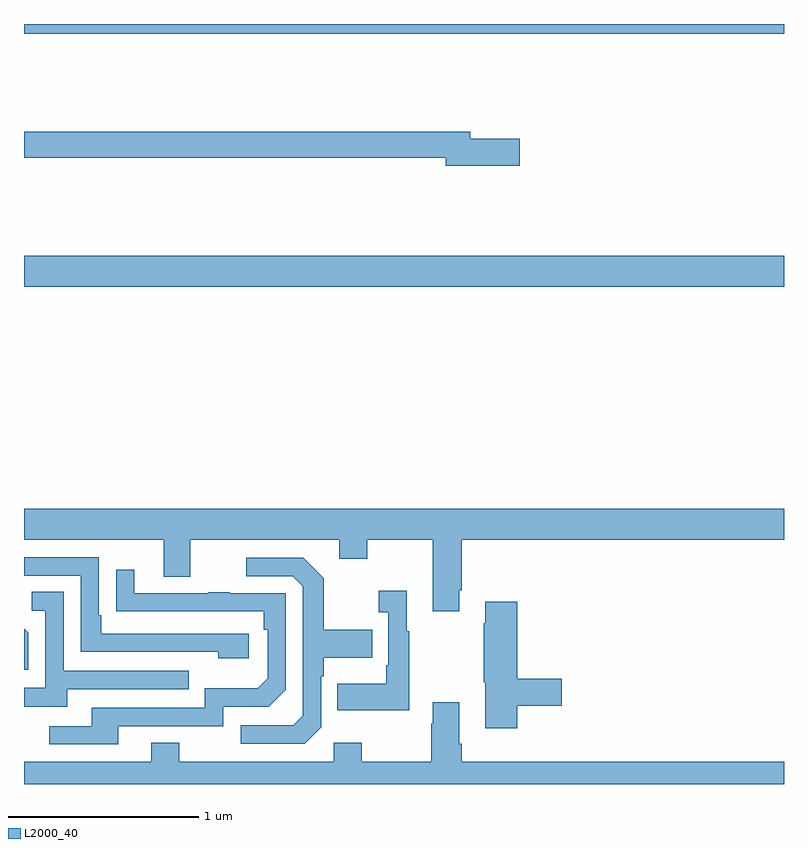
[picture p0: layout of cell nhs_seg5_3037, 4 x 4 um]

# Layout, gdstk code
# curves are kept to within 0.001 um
import gdstk
lib = gdstk.Library(unit=1e-6, precision=1e-09)
def R(c, l, rs):  # rectangles x0, y0, x1, y1
    for r in rs: c.add(gdstk.rectangle(r[:2], r[2:], *l))
def P(c, l, *ps):  # polygons
    for p in ps: c.add(gdstk.Polygon(p, *l))
L2000_40 = (2000, 40)

nhs_seg5_3037 = lib.new_cell('nhs_seg5_3037')
R(nhs_seg5_3037, L2000_40, [(287,867.416,291,867.58), (287,868.748,291,868.799)])
P(nhs_seg5_3037, L2000_40, [(289.609,868.196),(289.348,868.196),(289.348,868.232),(287,868.232),(287,868.096),(289.22,868.096),(289.22,868.054),(289.609,868.054)],
  [(289.291,865.819),(289.304,865.819),(289.304,866.084),(291,866.084),(291,866.248),(287,866.248),(287,866.084),(287.735,866.084),(287.735,865.89),(287.875,865.89),(287.875,866.084),(288.659,866.084),(288.659,865.985),(288.807,865.985),(288.807,866.084),(289.151,866.084),(289.151,865.707),(289.291,865.707)],
  [(288.184,865.59),(287.407,865.59),(287.407,865.687),(287.394,865.687),(287.394,865.992),(287,865.992),(287,865.896),(287.298,865.896),(287.298,865.494),(288.023,865.494),(288.023,865.46),(288.184,865.46)],
  [(288.564,865.098),(288.564,865.367),(288.577,865.367),(288.577,865.463),(288.833,865.463),(288.833,865.611),(288.577,865.611),(288.577,865.883),(288.471,865.989),(288.171,865.989),(288.171,865.893),(288.414,865.893),(288.468,865.839),(288.468,865.158),(288.417,865.107),(288.141,865.107),(288.141,865.011),(288.477,865.011)],
  [(287.497,865.104),(288.048,865.104),(288.048,865.206),(288.288,865.206),(288.378,865.296),(288.378,865.803),(288.083,865.803),(288.083,865.808),(287.971,865.808),(287.971,865.803),(287.581,865.803),(287.581,865.927),(287.485,865.927),(287.485,865.708),(288.262,865.707),(288.262,865.61),(288.282,865.61),(288.282,865.356),(288.229,865.303),(287.952,865.303),(287.952,865.2),(287.357,865.2),(287.357,865.104),(287.133,865.104),(287.133,865.008),(287.497,865.008)],
  [(289.027,865.603),(289.015,865.603),(289.015,865.816),(288.867,865.816),(288.867,865.703),(288.918,865.703),(288.918,865.423),(288.906,865.423),(288.906,865.327),(288.649,865.327),(288.649,865.187),(289.027,865.187)],
  [(287.227,865.299),(287.867,865.299),(287.867,865.395),(287.208,865.395),(287.208,865.811),(287.04,865.811),(287.04,865.71),(287.112,865.71),(287.112,865.305),(287,865.305),(287,865.205),(287.227,865.205)],
  [(289.595,865.21),(289.831,865.21),(289.831,865.352),(289.595,865.352),(289.595,865.759),(289.427,865.759),(289.427,865.646),(289.42,865.646),(289.42,865.335),(289.427,865.335),(289.427,865.092),(289.595,865.092)],
  [(287.022,865.594),(287,865.616),(287,865.401),(287.022,865.401)],
  [(291,864.916),(289.304,864.916),(289.304,865.012),(289.291,865.012),(289.291,865.228),(289.151,865.228),(289.151,865.115),(289.144,865.115),(289.144,864.916),(288.777,864.916),(288.777,865.015),(288.63,865.015),(288.63,864.916),(287.817,864.916),(287.817,865.015),(287.669,865.015),(287.669,864.916),(287,864.916),(287,864.799),(291,864.799)])

lib.write_gds('nhs_seg5_3037.gds')
